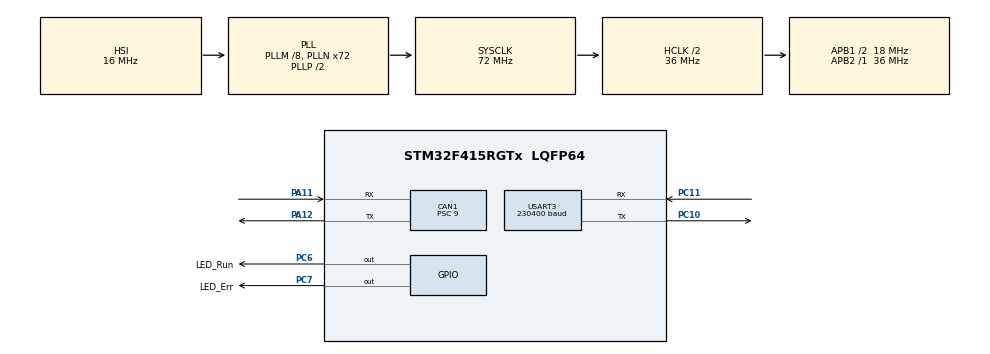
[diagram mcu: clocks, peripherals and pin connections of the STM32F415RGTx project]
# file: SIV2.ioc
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CAN1.ABOM=DISABLE
CAN1.BS1=CAN_BS1_5TQ
CAN1.BS2=CAN_BS2_2TQ
CAN1.CalculateBaudRate=250000
CAN1.CalculateTimeBit=4000
CAN1.CalculateTimeQuantum=500.0
CAN1.NART=DISABLE
CAN1.Prescaler=9
Mcu.Family=STM32F4
Mcu.Name=STM32F415RGTx
Mcu.Package=LQFP64
NVIC.CAN1_RX0_IRQn=true\:0\:0\:false\:false\:true\:true\:true
NVIC.PriorityGroup=NVIC_PRIORITYGROUP_4
NVIC.USART3_IRQn=true\:0\:0\:false\:false\:true\:true\:true
PA11.Mode=CAN_Activate
PA11.Signal=CAN1_RX
PA12.Mode=CAN_Activate
PA12.Signal=CAN1_TX
PC10.Mode=Asynchronous
PC10.Signal=USART3_TX
PC11.Mode=Asynchronous
PC11.Signal=USART3_RX
PC6.GPIO_Label=LED_Run
PC6.GPIO_ModeDefaultOutputPP=GPIO_MODE_OUTPUT_OD
PC6.GPIO_PuPd=GPIO_NOPULL
PC6.PinState=GPIO_PIN_SET
PC6.Signal=GPIO_Output
PC7.GPIO_Label=LED_Err
PC7.GPIO_ModeDefaultOutputPP=GPIO_MODE_OUTPUT_OD
PC7.GPIO_PuPd=GPIO_NOPULL
PC7.PinState=GPIO_PIN_SET
PC7.Signal=GPIO_Output
ProjectManager.HeapSize=0x200
ProjectManager.StackSize=0x400
ProjectManager.TargetToolchain=STM32CubeIDE
RCC.48MHZClocksFreq_Value=36000000
RCC.AHBCLKDivider=RCC_SYSCLK_DIV2
RCC.AHBFreq_Value=36000000
RCC.APB1CLKDivider=RCC_HCLK_DIV2
RCC.APB1Freq_Value=18000000
RCC.APB1TimFreq_Value=36000000
RCC.APB2Freq_Value=36000000
RCC.APB2TimFreq_Value=36000000
RCC.CortexFreq_Value=36000000
RCC.HCLKFreq_Value=36000000
RCC.HSE_VALUE=25000000
RCC.HSI_VALUE=16000000
RCC.LSE_VALUE=32768
RCC.PLLM=8
RCC.PLLN=72
RCC.SYSCLKFreq_VALUE=72000000
RCC.SYSCLKSource=RCC_SYSCLKSOURCE_PLLCLK
RCC.VCOOutputFreq_Value=144000000
USART3.BaudRate=230400
USART3.StopBits=STOPBITS_2
USART3.VirtualMode=VM_ASYNC
board=custom

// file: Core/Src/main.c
/* USER CODE BEGIN Header */
/**
  ******************************************************************************
  * @file           : main.c
  * @brief          : Main program body
  ******************************************************************************
  * @attention
  *
  * Copyright (c) 2022 STMicroelectronics.
  * All rights reserved.
  *
  * This software is licensed under terms that can be found in the LICENSE file
  * in the root directory of this software component.
  * If no LICENSE file comes with this software, it is provided AS-IS.
  *
  ******************************************************************************
  */
/* USER CODE END Header */
#include "main.h"

/* USER CODE BEGIN Includes */
#include <stdio.h>
#include <stdlib.h>
#include <string.h>
#include "uugp_can.h"
/* USER CODE END Includes */

CAN_HandleTypeDef hcan1;

UART_HandleTypeDef huart3;

/* USER CODE BEGIN PV */

uint8_t rx_data[8];
uint8_t tx_data[8] = {1,2,3,4,5,6,7,8};

int tesIncrement = 0;
int a = 10;
int b = 10;
int id_terbaca = 0;

CAN_TxHeaderTypeDef voltage_header; //CAN Bus Receive Header
CAN_TxHeaderTypeDef current_header; //CAN Bus Receive Header
CAN_TxHeaderTypeDef power_header; //CAN Bus Receive Header
CAN_TxHeaderTypeDef temperature_header; //CAN Bus Receive Header

uint8_t voltage;
uint8_t current;
uint16_t power;
uint8_t temperature;

uint8_t bufferUart[12];
int cnt;
int ready;

int tes1;
int tes2;

uint8_t V[10];
uint8_t C[10];
uint8_t P[10];
uint8_t T[10];

void HAL_CAN_RxFifo0MsgPendingCallback(CAN_HandleTypeDef *hcan)
{
	HAL_GPIO_TogglePin(LED_Err_GPIO_Port, LED_Err_Pin);
	ReadFeedback(&hcan1);

}

/* USER CODE END PV */

void SystemClock_Config(void);
static void MX_GPIO_Init(void);
static void MX_CAN1_Init(void);
static void MX_USART3_UART_Init(void);

int main(void)
{

  /* MCU Configuration--------------------------------------------------------*/

  /* Reset of all peripherals, Initializes the Flash interface and the Systick. */
  HAL_Init();

  /* Configure the system clock */
  SystemClock_Config();

  /* Initialize all configured peripherals */
  MX_GPIO_Init();
  MX_CAN1_Init();
  MX_USART3_UART_Init();
  /* USER CODE BEGIN 2 */

  CAN_FilterTypeDef CanFilterConfig;

  CanFilterConfig.FilterActivation = CAN_FILTER_ENABLE;
  CanFilterConfig.FilterBank = 0;
  CanFilterConfig.FilterFIFOAssignment = CAN_RX_FIFO0;
  CanFilterConfig.FilterIdHigh = 0x04;//0x407<<5;
  CanFilterConfig.FilterIdLow = 0x0000;
  CanFilterConfig.FilterMaskIdHigh = 0;
  CanFilterConfig.FilterMaskIdLow = 0x7FC<<5;//0x7FF<<5;
  CanFilterConfig.FilterMode = CAN_FILTERMODE_IDMASK;
  CanFilterConfig.FilterScale = CAN_FILTERSCALE_32BIT;
  CanFilterConfig.SlaveStartFilterBank = 14;
  HAL_CAN_ConfigFilter(&hcan1, &CanFilterConfig);

  HAL_CAN_Start(&hcan1);
  HAL_CAN_ActivateNotification(&hcan1, CAN_IT_RX_FIFO0_MSG_PENDING);

  USART3->CR1 |= USART_CR1_RXNEIE;
  /* USER CODE END 2 */

  /* Infinite loop */
  /* USER CODE BEGIN WHILE */
  while (1)
  {

	  SetCurrentLimit(&hcan1, 1, 10000); //input unit in mA , 10000mA = 10 A current limit
	  ReadOutputVoltage(&hcan1, 2);
	  uint32_t present_voltage = UUGP_Data.Output_Voltage;
	  HAL_Delay(100);
	  HAL_GPIO_TogglePin(LED_Run_GPIO_Port, LED_Run_Pin);

    /* USER CODE END WHILE */

  }
}

void SystemClock_Config(void)
{
  RCC_OscInitTypeDef RCC_OscInitStruct = {0};
  RCC_ClkInitTypeDef RCC_ClkInitStruct = {0};

  /** Configure the main internal regulator output voltage
  */
  __HAL_RCC_PWR_CLK_ENABLE();
  __HAL_PWR_VOLTAGESCALING_CONFIG(PWR_REGULATOR_VOLTAGE_SCALE1);
  /** Initializes the RCC Oscillators according to the specified parameters
  * in the RCC_OscInitTypeDef structure.
  */
  RCC_OscInitStruct.OscillatorType = RCC_OSCILLATORTYPE_HSI;
  RCC_OscInitStruct.HSIState = RCC_HSI_ON;
  RCC_OscInitStruct.HSICalibrationValue = RCC_HSICALIBRATION_DEFAULT;
  RCC_OscInitStruct.PLL.PLLState = RCC_PLL_ON;
  RCC_OscInitStruct.PLL.PLLSource = RCC_PLLSOURCE_HSI;
  RCC_OscInitStruct.PLL.PLLM = 8;
  RCC_OscInitStruct.PLL.PLLN = 72;
  RCC_OscInitStruct.PLL.PLLP = RCC_PLLP_DIV2;
  RCC_OscInitStruct.PLL.PLLQ = 4;
  if (HAL_RCC_OscConfig(&RCC_OscInitStruct) != HAL_OK)
  {
    Error_Handler();
  }
  /** Initializes the CPU, AHB and APB buses clocks
  */
  RCC_ClkInitStruct.ClockType = RCC_CLOCKTYPE_HCLK|RCC_CLOCKTYPE_SYSCLK
                              |RCC_CLOCKTYPE_PCLK1|RCC_CLOCKTYPE_PCLK2;
  RCC_ClkInitStruct.SYSCLKSource = RCC_SYSCLKSOURCE_PLLCLK;
  RCC_ClkInitStruct.AHBCLKDivider = RCC_SYSCLK_DIV2;
  RCC_ClkInitStruct.APB1CLKDivider = RCC_HCLK_DIV2;
  RCC_ClkInitStruct.APB2CLKDivider = RCC_HCLK_DIV1;

  if (HAL_RCC_ClockConfig(&RCC_ClkInitStruct, FLASH_LATENCY_1) != HAL_OK)
  {
    Error_Handler();
  }
}

static void MX_CAN1_Init(void)
{

  hcan1.Instance = CAN1;
  hcan1.Init.Prescaler = 9;
  hcan1.Init.Mode = CAN_MODE_NORMAL;
  hcan1.Init.SyncJumpWidth = CAN_SJW_1TQ;
  hcan1.Init.TimeSeg1 = CAN_BS1_5TQ;
  hcan1.Init.TimeSeg2 = CAN_BS2_2TQ;
  hcan1.Init.TimeTriggeredMode = DISABLE;
  hcan1.Init.AutoBusOff = DISABLE;
  hcan1.Init.AutoWakeUp = DISABLE;
  hcan1.Init.AutoRetransmission = DISABLE;
  hcan1.Init.ReceiveFifoLocked = DISABLE;
  hcan1.Init.TransmitFifoPriority = DISABLE;
  if (HAL_CAN_Init(&hcan1) != HAL_OK)
  {
    Error_Handler();
  }

}

static void MX_USART3_UART_Init(void)
{

  huart3.Instance = USART3;
  huart3.Init.BaudRate = 230400;
  huart3.Init.WordLength = UART_WORDLENGTH_8B;
  huart3.Init.StopBits = UART_STOPBITS_2;
  huart3.Init.Parity = UART_PARITY_NONE;
  huart3.Init.Mode = UART_MODE_TX_RX;
  huart3.Init.HwFlowCtl = UART_HWCONTROL_NONE;
  huart3.Init.OverSampling = UART_OVERSAMPLING_16;
  if (HAL_UART_Init(&huart3) != HAL_OK)
  {
    Error_Handler();
  }

}

static void MX_GPIO_Init(void)
{
  GPIO_InitTypeDef GPIO_InitStruct = {0};

  /* GPIO Ports Clock Enable */
  __HAL_RCC_GPIOC_CLK_ENABLE();
  __HAL_RCC_GPIOA_CLK_ENABLE();

  /*Configure GPIO pin Output Level */
  HAL_GPIO_WritePin(GPIOC, LED_Run_Pin|LED_Err_Pin, GPIO_PIN_SET);

  /*Configure GPIO pins : LED_Run_Pin LED_Err_Pin */
  GPIO_InitStruct.Pin = LED_Run_Pin|LED_Err_Pin;
  GPIO_InitStruct.Mode = GPIO_MODE_OUTPUT_OD;
  GPIO_InitStruct.Pull = GPIO_NOPULL;
  GPIO_InitStruct.Speed = GPIO_SPEED_FREQ_LOW;
  HAL_GPIO_Init(GPIOC, &GPIO_InitStruct);

}

void Error_Handler(void)
{
  __disable_irq();
  while (1)
  {
  }
}
